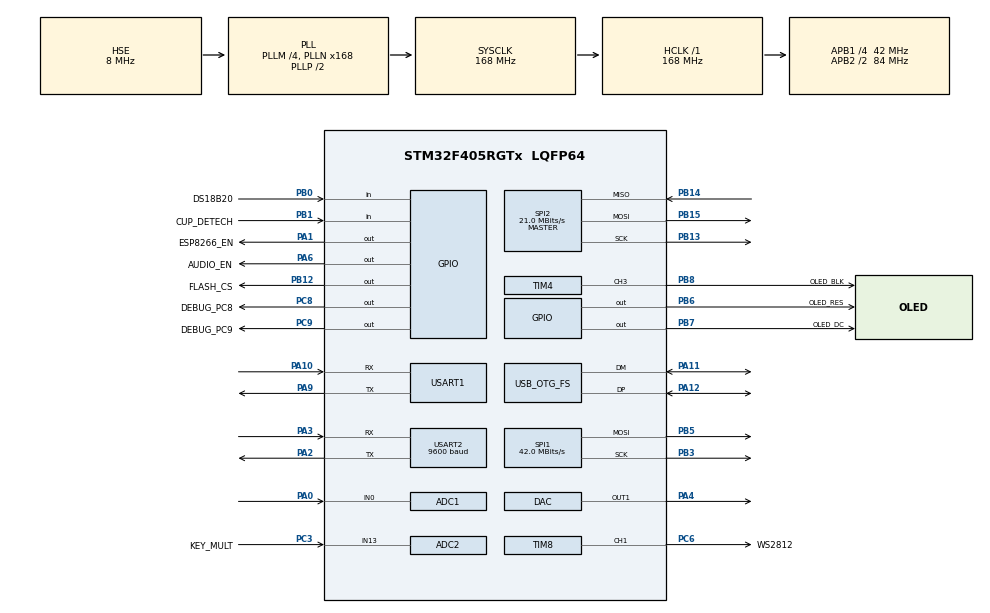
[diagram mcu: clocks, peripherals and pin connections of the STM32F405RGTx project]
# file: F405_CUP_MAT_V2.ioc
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ADC1.Channel-0\#ChannelRegularConversion=ADC_CHANNEL_0
ADC1.ClockPrescaler=ADC_CLOCK_SYNC_PCLK_DIV6
ADC1.ContinuousConvMode=ENABLE
ADC1.EOCSelection=ADC_EOC_SEQ_CONV
ADC1.NbrOfConversionFlag=1
ADC1.Rank-0\#ChannelRegularConversion=1
ADC1.SamplingTime-0\#ChannelRegularConversion=ADC_SAMPLETIME_144CYCLES
ADC1.ScanConvMode=ENABLE
ADC1.master=1
ADC2.Channel-0\#ChannelRegularConversion=ADC_CHANNEL_13
ADC2.ClockPrescaler=ADC_CLOCK_SYNC_PCLK_DIV6
ADC2.ContinuousConvMode=ENABLE
ADC2.EOCSelection=ADC_EOC_SEQ_CONV
ADC2.NbrOfConversionFlag=1
ADC2.Rank-0\#ChannelRegularConversion=1
ADC2.SamplingTime-0\#ChannelRegularConversion=ADC_SAMPLETIME_144CYCLES
ADC2.ScanConvMode=ENABLE
DAC.DAC_Trigger=DAC_TRIGGER_T7_TRGO
Dma.DAC1.4.Direction=DMA_MEMORY_TO_PERIPH
Dma.DAC1.4.FIFOMode=DMA_FIFOMODE_DISABLE
Dma.DAC1.4.Instance=DMA1_Stream5
Dma.DAC1.4.MemDataAlignment=DMA_MDATAALIGN_HALFWORD
Dma.DAC1.4.MemInc=DMA_MINC_ENABLE
Dma.DAC1.4.Mode=DMA_CIRCULAR
Dma.DAC1.4.PeriphDataAlignment=DMA_PDATAALIGN_HALFWORD
Dma.DAC1.4.PeriphInc=DMA_PINC_DISABLE
Dma.DAC1.4.Priority=DMA_PRIORITY_LOW
Dma.Request0=TIM8_CH1
Dma.Request1=SPI1_TX
Dma.Request2=SPI2_TX
Dma.Request3=SPI2_RX
Dma.Request4=DAC1
Dma.Request5=USART2_TX
Dma.SPI1_TX.1.Direction=DMA_MEMORY_TO_PERIPH
Dma.SPI1_TX.1.FIFOMode=DMA_FIFOMODE_DISABLE
Dma.SPI1_TX.1.Instance=DMA2_Stream3
Dma.SPI1_TX.1.MemDataAlignment=DMA_MDATAALIGN_HALFWORD
Dma.SPI1_TX.1.MemInc=DMA_MINC_ENABLE
Dma.SPI1_TX.1.Mode=DMA_NORMAL
Dma.SPI1_TX.1.PeriphDataAlignment=DMA_PDATAALIGN_HALFWORD
Dma.SPI1_TX.1.PeriphInc=DMA_PINC_DISABLE
Dma.SPI1_TX.1.Priority=DMA_PRIORITY_LOW
Dma.SPI2_RX.3.Direction=DMA_PERIPH_TO_MEMORY
Dma.SPI2_RX.3.FIFOMode=DMA_FIFOMODE_DISABLE
Dma.SPI2_RX.3.Instance=DMA1_Stream3
Dma.SPI2_RX.3.MemDataAlignment=DMA_MDATAALIGN_BYTE
Dma.SPI2_RX.3.MemInc=DMA_MINC_ENABLE
Dma.SPI2_RX.3.Mode=DMA_NORMAL
Dma.SPI2_RX.3.PeriphDataAlignment=DMA_PDATAALIGN_BYTE
Dma.SPI2_RX.3.PeriphInc=DMA_PINC_DISABLE
Dma.SPI2_RX.3.Priority=DMA_PRIORITY_LOW
Dma.SPI2_TX.2.Direction=DMA_MEMORY_TO_PERIPH
Dma.SPI2_TX.2.FIFOMode=DMA_FIFOMODE_DISABLE
Dma.SPI2_TX.2.Instance=DMA1_Stream4
Dma.SPI2_TX.2.MemDataAlignment=DMA_MDATAALIGN_BYTE
Dma.SPI2_TX.2.MemInc=DMA_MINC_ENABLE
Dma.SPI2_TX.2.Mode=DMA_NORMAL
Dma.SPI2_TX.2.PeriphDataAlignment=DMA_PDATAALIGN_BYTE
Dma.SPI2_TX.2.PeriphInc=DMA_PINC_DISABLE
Dma.SPI2_TX.2.Priority=DMA_PRIORITY_LOW
Dma.TIM8_CH1.0.Direction=DMA_MEMORY_TO_PERIPH
Dma.TIM8_CH1.0.FIFOMode=DMA_FIFOMODE_DISABLE
Dma.TIM8_CH1.0.Instance=DMA2_Stream2
Dma.TIM8_CH1.0.MemDataAlignment=DMA_MDATAALIGN_HALFWORD
Dma.TIM8_CH1.0.MemInc=DMA_MINC_ENABLE
Dma.TIM8_CH1.0.Mode=DMA_NORMAL
Dma.TIM8_CH1.0.PeriphDataAlignment=DMA_PDATAALIGN_HALFWORD
Dma.TIM8_CH1.0.PeriphInc=DMA_PINC_DISABLE
Dma.TIM8_CH1.0.Priority=DMA_PRIORITY_LOW
Dma.USART2_TX.5.Direction=DMA_MEMORY_TO_PERIPH
Dma.USART2_TX.5.FIFOMode=DMA_FIFOMODE_DISABLE
Dma.USART2_TX.5.Instance=DMA1_Stream6
Dma.USART2_TX.5.MemDataAlignment=DMA_MDATAALIGN_BYTE
Dma.USART2_TX.5.MemInc=DMA_MINC_ENABLE
Dma.USART2_TX.5.Mode=DMA_NORMAL
Dma.USART2_TX.5.PeriphDataAlignment=DMA_PDATAALIGN_BYTE
Dma.USART2_TX.5.PeriphInc=DMA_PINC_DISABLE
Dma.USART2_TX.5.Priority=DMA_PRIORITY_LOW
FREERTOS.INCLUDE_xTaskGetHandle=1
FREERTOS.Tasks01=lvgl_task,0,3072,lvgl_main,As weak,NULL,Dynamic,NULL,NULL;sensor_task,-2,1024,sensor_main,As weak,NULL,Dynamic,NULL,NULL;key_task,1,128,key_main,As weak,NULL,Dynamic,NULL,NULL;audio_task,2,256,audio_main,As weak,NULL,Dynamic,NULL,NULL
FREERTOS.configCHECK_FOR_STACK_OVERFLOW=2
FREERTOS.configTOTAL_HEAP_SIZE=25600
FREERTOS.configUSE_MALLOC_FAILED_HOOK=1
Mcu.Family=STM32F4
Mcu.Name=STM32F405RGTx
Mcu.Package=LQFP64
NVIC.DMA1_Stream3_IRQn=true\:10\:0\:true\:false\:true\:true\:false\:true\:true
NVIC.DMA1_Stream4_IRQn=true\:10\:0\:true\:false\:true\:true\:false\:true\:true
NVIC.DMA1_Stream5_IRQn=true\:5\:0\:true\:false\:true\:true\:false\:true\:true
NVIC.DMA1_Stream6_IRQn=true\:5\:0\:false\:false\:true\:true\:false\:true\:true
NVIC.DMA2_Stream2_IRQn=true\:15\:0\:true\:false\:true\:true\:false\:true\:true
NVIC.DMA2_Stream3_IRQn=true\:5\:0\:false\:false\:true\:true\:false\:true\:true
NVIC.OTG_FS_IRQn=true\:11\:0\:true\:false\:true\:true\:false\:true\:true
NVIC.PriorityGroup=NVIC_PRIORITYGROUP_4
NVIC.SPI2_IRQn=true\:9\:0\:true\:false\:true\:true\:true\:true\:true
NVIC.TIM8_UP_TIM13_IRQn=true\:15\:0\:false\:false\:true\:false\:false\:true\:true
NVIC.TimeBase=TIM8_UP_TIM13_IRQn
NVIC.TimeBaseIP=TIM13
NVIC.USART2_IRQn=true\:7\:0\:true\:false\:true\:true\:true\:true\:true
PA0-WKUP.Signal=ADCx_IN0
PA1.GPIO_Label=ESP8266_EN
PA1.Signal=GPIO_Output
PA10.Mode=Asynchronous
PA10.Signal=USART1_RX
PA11.Mode=Device_Only
PA11.Signal=USB_OTG_FS_DM
PA12.Mode=Device_Only
PA12.Signal=USB_OTG_FS_DP
PA13.Mode=Serial_Wire
PA13.Signal=SYS_JTMS-SWDIO
PA14.Mode=Serial_Wire
PA14.Signal=SYS_JTCK-SWCLK
PA2.Mode=Asynchronous
PA2.Signal=USART2_TX
PA3.Mode=Asynchronous
PA3.Signal=USART2_RX
PA4.Signal=COMP_DAC1_group
PA6.GPIO_Label=AUDIO_EN
PA6.PinState=GPIO_PIN_RESET
PA6.Signal=GPIO_Output
PA9.Mode=Asynchronous
PA9.Signal=USART1_TX
PB0.GPIO_Label=DS18B20
PB0.GPIO_PuPd=GPIO_NOPULL
PB0.Signal=GPIO_Input
PB1.GPIO_Label=CUP_DETECH
PB1.GPIO_PuPd=GPIO_PULLUP
PB1.Signal=GPIO_Input
PB12.GPIO_Label=FLASH_CS
PB12.GPIO_Speed=GPIO_SPEED_FREQ_VERY_HIGH
PB12.PinState=GPIO_PIN_SET
PB12.Signal=GPIO_Output
PB13.Mode=Full_Duplex_Master
PB13.Signal=SPI2_SCK
PB14.Mode=Full_Duplex_Master
PB14.Signal=SPI2_MISO
PB15.Mode=Full_Duplex_Master
PB15.Signal=SPI2_MOSI
PB3.Mode=TX_Only_Simplex_Unidirect_Master
PB3.Signal=SPI1_SCK
PB5.Mode=TX_Only_Simplex_Unidirect_Master
PB5.Signal=SPI1_MOSI
PB6.GPIO_Label=OLED_RES
PB6.Signal=GPIO_Output
PB7.GPIO_Label=OLED_DC
PB7.Signal=GPIO_Output
PB8.GPIO_Label=OLED_BLK
PB8.Signal=S_TIM4_CH3
PC3.GPIO_Label=KEY_MULT
PC3.Signal=ADCx_IN13
PC6.GPIO_Label=WS2812
PC6.Signal=S_TIM8_CH1
PC8.GPIO_Label=DEBUG_PC8
PC8.Signal=GPIO_Output
PC9.GPIO_Label=DEBUG_PC9
PC9.Signal=GPIO_Output
PH0-OSC_IN.Mode=HSE-External-Oscillator
PH0-OSC_IN.Signal=RCC_OSC_IN
PH1-OSC_OUT.Mode=HSE-External-Oscillator
PH1-OSC_OUT.Signal=RCC_OSC_OUT
ProjectManager.HeapSize=0x200
ProjectManager.StackSize=0x400
ProjectManager.TargetToolchain=MDK-ARM V5.32
RCC.48MHZClocksFreq_Value=48000000
RCC.AHBFreq_Value=168000000
RCC.APB1CLKDivider=RCC_HCLK_DIV4
RCC.APB1Freq_Value=42000000
RCC.APB1TimFreq_Value=84000000
RCC.APB2CLKDivider=RCC_HCLK_DIV2
RCC.APB2Freq_Value=84000000
RCC.APB2TimFreq_Value=168000000
RCC.CortexFreq_Value=168000000
RCC.HCLKFreq_Value=168000000
RCC.HSE_VALUE=8000000
RCC.HSI_VALUE=16000000
RCC.LSE_VALUE=32768
RCC.PLLM=4
RCC.PLLN=168
RCC.PLLQ=7
RCC.RCC_RTC_Clock_SourceVirtual=RCC_RTCCLKSOURCE_HSE_DIV25
RCC.RCC_RTC_Clock_Source_FROM_HSE=RCC_RTCCLKSOURCE_HSE_DIV25
RCC.SYSCLKFreq_VALUE=168000000
RCC.SYSCLKSource=RCC_SYSCLKSOURCE_PLLCLK
RCC.VCOOutputFreq_Value=336000000
RTC.SynchPrediv=2499
SH.ADCx_IN0.0=ADC1_IN0,IN0
SH.ADCx_IN13.0=ADC2_IN13,IN13
SH.COMP_DAC1_group.0=DAC_OUT1,DAC_OUT1
SH.S_TIM4_CH3.0=TIM4_CH3,PWM Generation3 CH3
SH.S_TIM8_CH1.0=TIM8_CH1,PWM Generation1 CH1
SPI1.CLKPhase=SPI_PHASE_2EDGE
SPI1.CLKPolarity=SPI_POLARITY_HIGH
SPI1.CalculateBaudRate=42.0 MBits/s
SPI1.Direction=SPI_DIRECTION_2LINES
SPI1.Mode=SPI_MODE_MASTER
SPI1.VirtualType=VM_MASTER
SPI2.CalculateBaudRate=21.0 MBits/s
SPI2.Direction=SPI_DIRECTION_2LINES
SPI2.Mode=SPI_MODE_MASTER
SPI2.VirtualType=VM_MASTER
TIM4.Channel-PWM\ Generation3\ CH3=TIM_CHANNEL_3
TIM4.Period=100-1
TIM4.Prescaler=210-1
TIM7.Period=125-1
TIM7.Prescaler=84-1
TIM7.TIM_MasterOutputTrigger=TIM_TRGO_UPDATE
TIM8.Channel-PWM\ Generation1\ CH1=TIM_CHANNEL_1
TIM8.Period=168-1
TIM8.Prescaler=1-1
USART1.VirtualMode=VM_ASYNC
USART2.BaudRate=9600
USART2.VirtualMode=VM_ASYNC
USB_DEVICE.CLASS_NAME_FS=MSC
USB_DEVICE.MSC_MEDIA_PACKET-MSC_FS=4096
USB_DEVICE.VirtualMode-MSC_FS=Msc
USB_DEVICE.VirtualModeFS=Msc_FS
USB_OTG_FS.VirtualMode=Device_Only
VP_FREERTOS_VS_CMSIS_V1.Mode=CMSIS_V1
VP_RTC_VS_RTC_Activate.Mode=RTC_Enabled
VP_RTC_VS_RTC_Calendar.Mode=RTC_Calendar
VP_SYS_VS_tim13.Mode=TIM13
VP_TIM14_VS_ClockSourceINT.Mode=Enable_Timer
VP_TIM4_VS_ClockSourceINT.Mode=Internal
VP_TIM7_VS_ClockSourceINT.Mode=Enable_Timer
VP_TIM8_VS_ClockSourceINT.Mode=Internal
VP_USB_DEVICE_VS_USB_DEVICE_MSC_FS.Mode=MSC_FS
board=custom

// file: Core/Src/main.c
/* USER CODE BEGIN Header */
/**
  ******************************************************************************
  * @file           : main.c
  * @brief          : Main program body
  ******************************************************************************
  * @attention
  *
  * Copyright (c) 2025 STMicroelectronics.
  * All rights reserved.
  *
  * This software is licensed under terms that can be found in the LICENSE file
  * in the root directory of this software component.
  * If no LICENSE file comes with this software, it is provided AS-IS.
  *
  ******************************************************************************
  */
/* USER CODE END Header */
#include "main.h"
#include "cmsis_os.h"
#include "adc.h"
#include "dac.h"
#include "dma.h"
#include "rtc.h"
#include "spi.h"
#include "tim.h"
#include "usart.h"
#include "usb_device.h"
#include "gpio.h"

/* USER CODE BEGIN Includes */
#include "spi_flash.h"
#include "ws2812.h"

#include "FatFsSelfTest.h"
#include "stm_system_io.h"

#include "lvgl.h"
/* USER CODE END Includes */

void SystemClock_Config(void);
void MX_FREERTOS_Init(void);

/* USER CODE BEGIN 0 */
typedef struct
{
	char head[12];
	uint32_t version;
	uint32_t app_len;
	uint32_t app_crc;
	uint32_t tag_crc;
	char end[4];
}lime_boot_tag_t;
const lime_boot_tag_t tag __attribute__(( section(".ARM.__at_0x08010400"))) =
{
	.head = "LIME-TAG-ST",
	.version = 0xffffffff,
	.app_len = 0xffffffff,
	.app_crc = 0xffffffff,
	.tag_crc = 0xffffffff,
	.end = "END",
};
/* USER CODE END 0 */

int main(void)
{

  /* USER CODE BEGIN 1 */
//  SystemCoreClockUpdate();
  /* USER CODE END 1 */

  /* MCU Configuration--------------------------------------------------------*/

  /* Reset of all peripherals, Initializes the Flash interface and the Systick. */
  HAL_Init();

  /* Configure the system clock */
  SystemClock_Config();

  /* Initialize all configured peripherals */
  MX_GPIO_Init();
  MX_DMA_Init();
  MX_ADC1_Init();
  MX_DAC_Init();
  MX_TIM8_Init();
  MX_USART1_UART_Init();
  MX_USART2_UART_Init();
  MX_SPI1_Init();
  MX_SPI2_Init();
  MX_TIM4_Init();
  MX_ADC2_Init();
  MX_TIM7_Init();
  MX_TIM14_Init();
  MX_RTC_Init();
  /* USER CODE BEGIN 2 */
  DEBUG_LOG("CUP_MAT_%s Start!\n", SOFTWARE_VERSION);
  DEBUG_LOG("Compile Time:%s,%s\n", __DATE__, __TIME__);

  __enable_irq();

  /* USER CODE END 2 */

  /* Call init function for freertos objects (in cmsis_os2.c) */
  MX_FREERTOS_Init();

  /* Start scheduler */
  osKernelStart();

  /* We should never get here as control is now taken by the scheduler */

  /* Infinite loop */
  while (1)
  {

  }
}

void SystemClock_Config(void)
{
  RCC_OscInitTypeDef RCC_OscInitStruct = {0};
  RCC_ClkInitTypeDef RCC_ClkInitStruct = {0};

  /** Configure the main internal regulator output voltage
  */
  __HAL_RCC_PWR_CLK_ENABLE();
  __HAL_PWR_VOLTAGESCALING_CONFIG(PWR_REGULATOR_VOLTAGE_SCALE1);

  /** Initializes the RCC Oscillators according to the specified parameters
  * in the RCC_OscInitTypeDef structure.
  */
  RCC_OscInitStruct.OscillatorType = RCC_OSCILLATORTYPE_HSE;
  RCC_OscInitStruct.HSEState = RCC_HSE_ON;
  RCC_OscInitStruct.PLL.PLLState = RCC_PLL_ON;
  RCC_OscInitStruct.PLL.PLLSource = RCC_PLLSOURCE_HSE;
  RCC_OscInitStruct.PLL.PLLM = 4;
  RCC_OscInitStruct.PLL.PLLN = 168;
  RCC_OscInitStruct.PLL.PLLP = RCC_PLLP_DIV2;
  RCC_OscInitStruct.PLL.PLLQ = 7;
  if (HAL_RCC_OscConfig(&RCC_OscInitStruct) != HAL_OK)
  {
    Error_Handler();
  }

  /** Initializes the CPU, AHB and APB buses clocks
  */
  RCC_ClkInitStruct.ClockType = RCC_CLOCKTYPE_HCLK|RCC_CLOCKTYPE_SYSCLK
                              |RCC_CLOCKTYPE_PCLK1|RCC_CLOCKTYPE_PCLK2;
  RCC_ClkInitStruct.SYSCLKSource = RCC_SYSCLKSOURCE_PLLCLK;
  RCC_ClkInitStruct.AHBCLKDivider = RCC_SYSCLK_DIV1;
  RCC_ClkInitStruct.APB1CLKDivider = RCC_HCLK_DIV4;
  RCC_ClkInitStruct.APB2CLKDivider = RCC_HCLK_DIV2;

  if (HAL_RCC_ClockConfig(&RCC_ClkInitStruct, FLASH_LATENCY_5) != HAL_OK)
  {
    Error_Handler();
  }
}

/* USER CODE BEGIN 4 */

void vApplicationStackOverflowHook(xTaskHandle xTask, signed char *pcTaskName)
{
	printf("\n%s('%s')\n", __FUNCTION__, pcTaskName);

	while(1)
		;
}
void vApplicationMallocFailedHook(void)
{
	printf("\n%s()\n", __FUNCTION__);

	while(1)
		;
}

/* USER CODE END 4 */

void HAL_TIM_PeriodElapsedCallback(TIM_HandleTypeDef *htim)
{
  if (htim->Instance == TIM13) {
    HAL_IncTick();
  }
  /* USER CODE BEGIN Callback 1 */
  if (htim->Instance == TIM13) {
	lv_tick_inc(1);
	WS2812_Sync();
  }

  /* USER CODE END Callback 1 */
}

void Error_Handler(void)
{
  /* USER CODE BEGIN Error_Handler_Debug */
	DEBUG_LOG("\n%s()\n", __FUNCTION__);
  /* User can add his own implementation to report the HAL error return state */
  __disable_irq();
  while (1)
  {
  }
  /* USER CODE END Error_Handler_Debug */
}

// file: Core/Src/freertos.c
/* USER CODE BEGIN Header */
/**
  ******************************************************************************
  * File Name          : freertos.c
  * Description        : Code for freertos applications
  ******************************************************************************
  * @attention
  *
  * Copyright (c) 2025 STMicroelectronics.
  * All rights reserved.
  *
  * This software is licensed under terms that can be found in the LICENSE file
  * in the root directory of this software component.
  * If no LICENSE file comes with this software, it is provided AS-IS.
  *
  ******************************************************************************
  */
/* USER CODE END Header */

#include "FreeRTOS.h"
#include "task.h"
#include "main.h"
#include "cmsis_os.h"

osThreadId lvgl_taskHandle;
osThreadId sensor_taskHandle;
osThreadId key_taskHandle;
osThreadId audio_taskHandle;

void lvgl_main(void const * argument);
void sensor_main(void const * argument);
void key_main(void const * argument);
void audio_main(void const * argument);

extern void MX_USB_DEVICE_Init(void);
void MX_FREERTOS_Init(void); /* (MISRA C 2004 rule 8.1) */

/* GetIdleTaskMemory prototype (linked to static allocation support) */
void vApplicationGetIdleTaskMemory( StaticTask_t **ppxIdleTaskTCBBuffer, StackType_t **ppxIdleTaskStackBuffer, uint32_t *pulIdleTaskStackSize );

/* Hook prototypes */
void vApplicationStackOverflowHook(xTaskHandle xTask, signed char *pcTaskName);
void vApplicationMallocFailedHook(void);

/* USER CODE BEGIN 4 */
__weak void vApplicationStackOverflowHook(xTaskHandle xTask, signed char *pcTaskName)
{
   /* Run time stack overflow checking is performed if
   configCHECK_FOR_STACK_OVERFLOW is defined to 1 or 2. This hook function is
   called if a stack overflow is detected. */
}
/* USER CODE END 4 */

/* USER CODE BEGIN 5 */
__weak void vApplicationMallocFailedHook(void)
{
   /* vApplicationMallocFailedHook() will only be called if
   configUSE_MALLOC_FAILED_HOOK is set to 1 in FreeRTOSConfig.h. It is a hook
   function that will get called if a call to pvPortMalloc() fails.
   pvPortMalloc() is called internally by the kernel whenever a task, queue,
   timer or semaphore is created. It is also called by various parts of the
   demo application. If heap_1.c or heap_2.c are used, then the size of the
   heap available to pvPortMalloc() is defined by configTOTAL_HEAP_SIZE in
   FreeRTOSConfig.h, and the xPortGetFreeHeapSize() API function can be used
   to query the size of free heap space that remains (although it does not
   provide information on how the remaining heap might be fragmented). */
}
/* USER CODE END 5 */

/* USER CODE BEGIN GET_IDLE_TASK_MEMORY */
static StaticTask_t xIdleTaskTCBBuffer;
static StackType_t xIdleStack[configMINIMAL_STACK_SIZE];

void vApplicationGetIdleTaskMemory( StaticTask_t **ppxIdleTaskTCBBuffer, StackType_t **ppxIdleTaskStackBuffer, uint32_t *pulIdleTaskStackSize )
{
  *ppxIdleTaskTCBBuffer = &xIdleTaskTCBBuffer;
  *ppxIdleTaskStackBuffer = &xIdleStack[0];
  *pulIdleTaskStackSize = configMINIMAL_STACK_SIZE;
  /* place for user code */
}
/* USER CODE END GET_IDLE_TASK_MEMORY */

void MX_FREERTOS_Init(void) {

  /* Create the thread(s) */
  /* definition and creation of lvgl_task */
  osThreadDef(lvgl_task, lvgl_main, osPriorityNormal, 0, 3072);
  lvgl_taskHandle = osThreadCreate(osThread(lvgl_task), NULL);

  /* definition and creation of sensor_task */
  osThreadDef(sensor_task, sensor_main, osPriorityLow, 0, 1024);
  sensor_taskHandle = osThreadCreate(osThread(sensor_task), NULL);

  /* definition and creation of key_task */
  osThreadDef(key_task, key_main, osPriorityAboveNormal, 0, 128);
  key_taskHandle = osThreadCreate(osThread(key_task), NULL);

  /* definition and creation of audio_task */
  osThreadDef(audio_task, audio_main, osPriorityHigh, 0, 256);
  audio_taskHandle = osThreadCreate(osThread(audio_task), NULL);

}

__weak void lvgl_main(void const * argument)
{
  /* init code for USB_DEVICE */
  MX_USB_DEVICE_Init();
  for(;;)
  {
    osDelay(1);
  }
}

__weak void sensor_main(void const * argument)
{
  for(;;)
  {
    osDelay(1);
  }
}

__weak void key_main(void const * argument)
{
  for(;;)
  {
    osDelay(1);
  }
}

__weak void audio_main(void const * argument)
{
  for(;;)
  {
    osDelay(1);
  }
}
